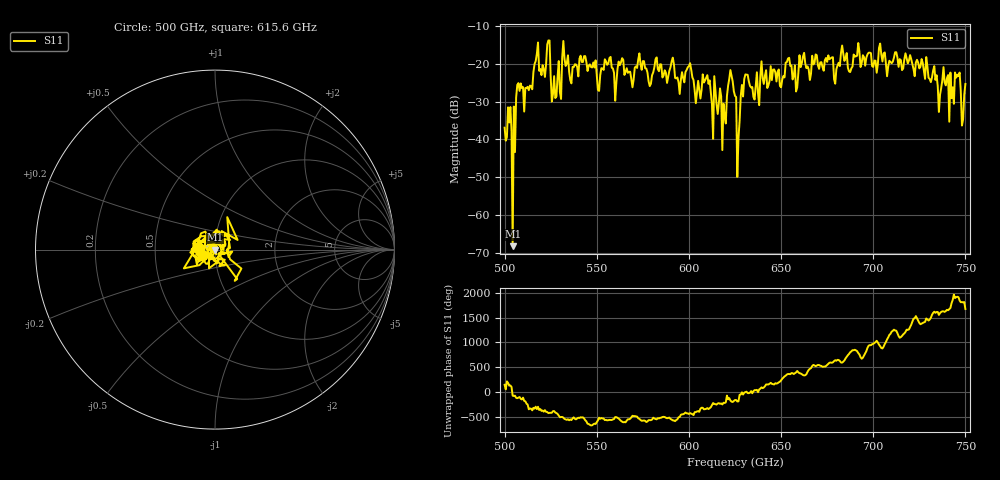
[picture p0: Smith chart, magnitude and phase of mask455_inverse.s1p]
!Created with skrf (http://scikit-rf.org).
# GHz S MA R 50.0
!freq magS11 angS11
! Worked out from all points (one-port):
!   401 points, 500 GHz to 750 GHz, reference 50 ohm
!   lowest |S11| = -68.3 dB at 504.4 GHz (marker M1), VSWR 1.00, Z = 50 - j0.0358 ohm
!   |S11| at or under -10 dB: start of sweep to end of sweep
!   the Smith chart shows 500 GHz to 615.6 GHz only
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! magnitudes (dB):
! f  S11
! 500 GHz  -36.9
! 502.5 GHz  -35.5
! 504.4 GHz  -68.3
! 507.5 GHz  -25.1
! 513.8 GHz  -25.7
! 516.9 GHz  -19.2
! 520.6 GHz  -20.3
! 523.8 GHz  -13.7
! 526.9 GHz  -23.2
! 531.2 GHz  -18.2
! 562.5 GHz  -20.3
! 578.8 GHz  -25.8
! 590.6 GHz  -19.3
! 593.8 GHz  -23.5
! 610 GHz  -22.9
! 619.4 GHz  -33.9
! 622.5 GHz  -21.6
! 625 GHz  -28.4
! 627.5 GHz  -35.1
! 631.2 GHz  -22.8
! 636.9 GHz  -22.2
! 656.2 GHz  -24.1
! 680 GHz  -21.4
! 683.8 GHz  -17.2
! 687.5 GHz  -22.1
! 691.2 GHz  -17.8
! 718.8 GHz  -19.8
! 750 GHz  -25.3
